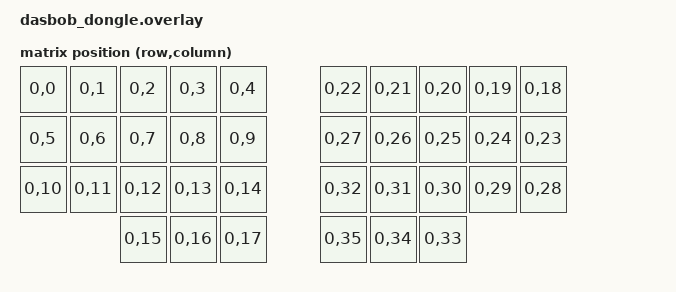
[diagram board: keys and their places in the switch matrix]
/*
 * SPDX-License-Identifier: MIT
 *
 * The dongle has no physical keys of its own — it only needs the same
 * logical 36-key transform as dasbob.dtsi (so the keymap's position count
 * matches) plus a mock kscan. It intentionally does NOT #include
 * dasbob.dtsi, because that file wires kscan0 to nice!nano-specific
 * (&pro_micro / &gpio1) pins that don't exist on the xiao_ble board.
 */

#include <dt-bindings/zmk/matrix_transform.h>

/ {
	chosen {
		zmk,kscan = &mock_kscan;
		zmk,matrix_transform = &default_transform;
		/delete-property/ zephyr,console;
		/delete-property/ zephyr,shell-uart;
		/delete-property/ zephyr,uart-mcumgr;
		/delete-property/ zephyr,bt-mon-uart;
		/delete-property/ zephyr,bt-c2h-uart;
		wakeup-source;
	};

	default_transform: keymap_transform_0 {
		compatible = "zmk,matrix-transform";
		columns = <36>;
		rows = <1>;
		map = <
			RC(0,0)  RC(0,1)  RC(0,2)  RC(0,3)  RC(0,4)    RC(0,22) RC(0,21) RC(0,20) RC(0,19) RC(0,18)
			RC(0,5)  RC(0,6)  RC(0,7)  RC(0,8)  RC(0,9)    RC(0,27) RC(0,26) RC(0,25) RC(0,24) RC(0,23)
			RC(0,10) RC(0,11) RC(0,12) RC(0,13) RC(0,14)   RC(0,32) RC(0,31) RC(0,30) RC(0,29) RC(0,28)
			                  RC(0,15) RC(0,16) RC(0,17)   RC(0,35) RC(0,34) RC(0,33)
		>;
	};

	mock_kscan: kscan_0 {
		compatible = "zmk,kscan-mock";
		columns = <0>;
		rows = <0>;
		events = <0>;
	};
};

&board_cdc_acm_uart {
	status = "disabled";
};
